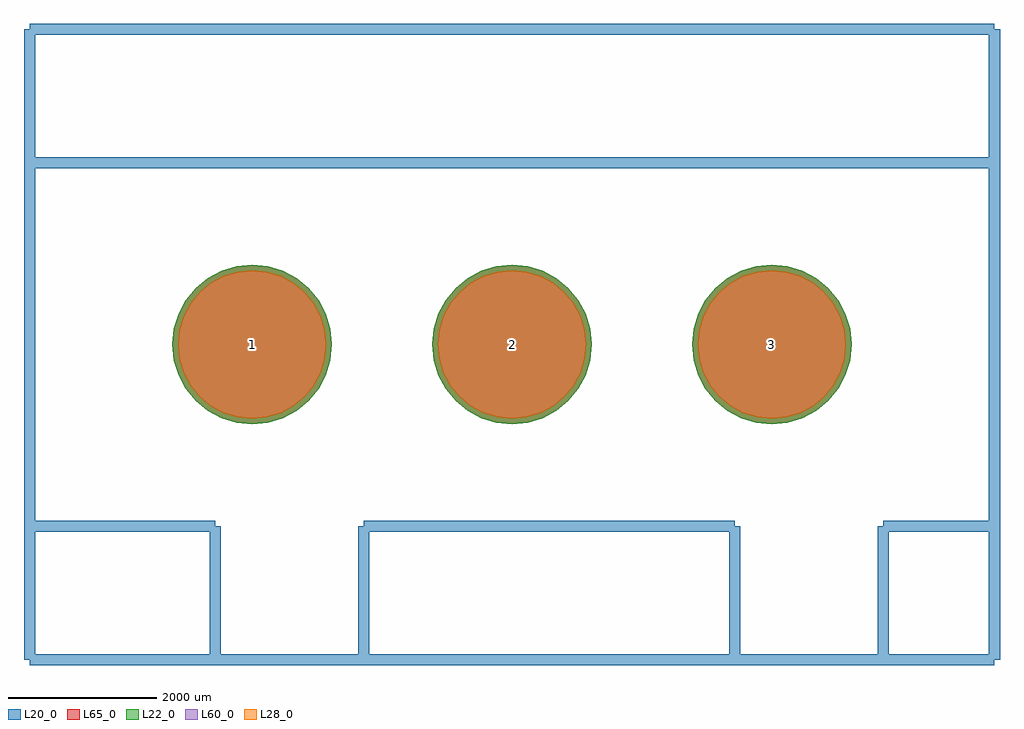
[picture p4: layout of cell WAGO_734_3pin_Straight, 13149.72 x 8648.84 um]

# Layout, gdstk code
import gdstk
lib = gdstk.Library(unit=1e-6, precision=1e-09)
def P(c, l, *ps):  # polygons
    for p in ps: c.add(gdstk.Polygon(p, *l))
L20_0 = (20, 0)
L22_0 = (22, 0)
L28_0 = (28, 0)
L60_0 = (60, 0)
L65_0 = (65, 0)

wago_734_3pin_straight = lib.new_cell('WAGO_734_3pin_Straight')
P(wago_734_3pin_straight, L22_0, [(4574.61,0),(4553.964,209.623),(4492.819,411.19),(4393.526,596.955),(4259.899,759.779),(4097.075,893.406),(3911.31,992.699),(3709.743,1053.844),(3500.12,1074.49),(3290.497,1053.844),(3088.93,992.699),(2903.165,893.406),(2740.341,759.779),(2606.714,596.955),(2507.421,411.19),(2446.276,209.623),(2425.63,0),(2446.276,-209.623),(2507.421,-411.19),(2606.714,-596.955),(2740.341,-759.779),(2903.165,-893.406),(3088.93,-992.699),(3290.497,-1053.844),(3500.12,-1074.49),(3709.743,-1053.844),(3911.31,-992.699),(4097.075,-893.406),(4259.899,-759.779),(4393.526,-596.955),(4492.819,-411.19),(4553.964,-209.623)],
  [(-2425.63,0),(-2446.276,209.623),(-2507.421,411.19),(-2606.714,596.955),(-2740.341,759.779),(-2903.165,893.406),(-3088.93,992.699),(-3290.497,1053.844),(-3500.12,1074.49),(-3709.743,1053.844),(-3911.31,992.699),(-4097.075,893.406),(-4259.899,759.779),(-4393.526,596.955),(-4492.819,411.19),(-4553.964,209.623),(-4574.61,0),(-4553.964,-209.623),(-4492.819,-411.19),(-4393.526,-596.955),(-4259.899,-759.779),(-4097.075,-893.406),(-3911.31,-992.699),(-3709.743,-1053.844),(-3500.12,-1074.49),(-3290.497,-1053.844),(-3088.93,-992.699),(-2903.165,-893.406),(-2740.341,-759.779),(-2606.714,-596.955),(-2507.421,-411.19),(-2446.276,-209.623)],
  [(1074.49,0),(1053.844,209.623),(992.699,411.19),(893.406,596.955),(759.779,759.779),(596.955,893.406),(411.19,992.699),(209.623,1053.844),(0,1074.49),(-209.623,1053.844),(-411.19,992.699),(-596.955,893.406),(-759.779,759.779),(-893.406,596.955),(-992.699,411.19),(-1053.844,209.623),(-1074.49,0),(-1053.844,-209.623),(-992.699,-411.19),(-893.406,-596.955),(-759.779,-759.779),(-596.955,-893.406),(-411.19,-992.699),(-209.623,-1053.844),(0,-1074.49),(209.623,-1053.844),(411.19,-992.699),(596.955,-893.406),(759.779,-759.779),(893.406,-596.955),(992.699,-411.19),(1053.844,-209.623)])
P(wago_734_3pin_straight, L28_0, [(4499.61,0),(4480.405,194.991),(4423.528,382.488),(4331.166,555.287),(4206.866,706.746),(4055.407,831.046),(3882.608,923.408),(3695.111,980.285),(3500.12,999.49),(3305.129,980.285),(3117.632,923.408),(2944.833,831.046),(2793.374,706.746),(2669.074,555.287),(2576.712,382.488),(2519.835,194.991),(2500.63,0),(2519.835,-194.991),(2576.712,-382.488),(2669.074,-555.287),(2793.374,-706.746),(2944.833,-831.046),(3117.632,-923.408),(3305.129,-980.285),(3500.12,-999.49),(3695.111,-980.285),(3882.608,-923.408),(4055.407,-831.046),(4206.866,-706.746),(4331.166,-555.287),(4423.528,-382.488),(4480.405,-194.991)],
  [(-2500.63,0),(-2519.835,194.991),(-2576.712,382.488),(-2669.074,555.287),(-2793.374,706.746),(-2944.833,831.046),(-3117.632,923.408),(-3305.129,980.285),(-3500.12,999.49),(-3695.111,980.285),(-3882.608,923.408),(-4055.407,831.046),(-4206.866,706.746),(-4331.166,555.287),(-4423.528,382.488),(-4480.405,194.991),(-4499.61,0),(-4480.405,-194.991),(-4423.528,-382.488),(-4331.166,-555.287),(-4206.866,-706.746),(-4055.407,-831.046),(-3882.608,-923.408),(-3695.111,-980.285),(-3500.12,-999.49),(-3305.129,-980.285),(-3117.632,-923.408),(-2944.833,-831.046),(-2793.374,-706.746),(-2669.074,-555.287),(-2576.712,-382.488),(-2519.835,-194.991)],
  [(999.49,0),(980.285,194.991),(923.408,382.488),(831.046,555.287),(706.746,706.746),(555.287,831.046),(382.488,923.408),(194.991,980.285),(0,999.49),(-194.991,980.285),(-382.488,923.408),(-555.287,831.046),(-706.746,706.746),(-831.046,555.287),(-923.408,382.488),(-980.285,194.991),(-999.49,0),(-980.285,-194.991),(-923.408,-382.488),(-831.046,-555.287),(-706.746,-706.746),(-555.287,-831.046),(-382.488,-923.408),(-194.991,-980.285),(0,-999.49),(194.991,-980.285),(382.488,-923.408),(555.287,-831.046),(706.746,-706.746),(831.046,-555.287),(923.408,-382.488),(980.285,-194.991)])
P(wago_734_3pin_straight, L60_0, [(4499.61,0),(4480.405,194.991),(4423.528,382.488),(4331.166,555.287),(4206.866,706.746),(4055.407,831.046),(3882.608,923.408),(3695.111,980.285),(3500.12,999.49),(3305.129,980.285),(3117.632,923.408),(2944.833,831.046),(2793.374,706.746),(2669.074,555.287),(2576.712,382.488),(2519.835,194.991),(2500.63,0),(2519.835,-194.991),(2576.712,-382.488),(2669.074,-555.287),(2793.374,-706.746),(2944.833,-831.046),(3117.632,-923.408),(3305.129,-980.285),(3500.12,-999.49),(3695.111,-980.285),(3882.608,-923.408),(4055.407,-831.046),(4206.866,-706.746),(4331.166,-555.287),(4423.528,-382.488),(4480.405,-194.991)],
  [(-2500.63,0),(-2519.835,194.991),(-2576.712,382.488),(-2669.074,555.287),(-2793.374,706.746),(-2944.833,831.046),(-3117.632,923.408),(-3305.129,980.285),(-3500.12,999.49),(-3695.111,980.285),(-3882.608,923.408),(-4055.407,831.046),(-4206.866,706.746),(-4331.166,555.287),(-4423.528,382.488),(-4480.405,194.991),(-4499.61,0),(-4480.405,-194.991),(-4423.528,-382.488),(-4331.166,-555.287),(-4206.866,-706.746),(-4055.407,-831.046),(-3882.608,-923.408),(-3695.111,-980.285),(-3500.12,-999.49),(-3305.129,-980.285),(-3117.632,-923.408),(-2944.833,-831.046),(-2793.374,-706.746),(-2669.074,-555.287),(-2576.712,-382.488),(-2519.835,-194.991)],
  [(999.49,0),(980.285,194.991),(923.408,382.488),(831.046,555.287),(706.746,706.746),(555.287,831.046),(382.488,923.408),(194.991,980.285),(0,999.49),(-194.991,980.285),(-382.488,923.408),(-555.287,831.046),(-706.746,706.746),(-831.046,555.287),(-923.408,382.488),(-980.285,194.991),(-999.49,0),(-980.285,-194.991),(-923.408,-382.488),(-831.046,-555.287),(-706.746,-706.746),(-555.287,-831.046),(-382.488,-923.408),(-194.991,-980.285),(0,-999.49),(194.991,-980.285),(382.488,-923.408),(555.287,-831.046),(706.746,-706.746),(831.046,-555.287),(923.408,-382.488),(980.285,-194.991)])
P(wago_734_3pin_straight, L65_0, [(4574.61,0),(4553.964,209.623),(4492.819,411.19),(4393.526,596.955),(4259.899,759.779),(4097.075,893.406),(3911.31,992.699),(3709.743,1053.844),(3500.12,1074.49),(3290.497,1053.844),(3088.93,992.699),(2903.165,893.406),(2740.341,759.779),(2606.714,596.955),(2507.421,411.19),(2446.276,209.623),(2425.63,0),(2446.276,-209.623),(2507.421,-411.19),(2606.714,-596.955),(2740.341,-759.779),(2903.165,-893.406),(3088.93,-992.699),(3290.497,-1053.844),(3500.12,-1074.49),(3709.743,-1053.844),(3911.31,-992.699),(4097.075,-893.406),(4259.899,-759.779),(4393.526,-596.955),(4492.819,-411.19),(4553.964,-209.623)],
  [(-2425.63,0),(-2446.276,209.623),(-2507.421,411.19),(-2606.714,596.955),(-2740.341,759.779),(-2903.165,893.406),(-3088.93,992.699),(-3290.497,1053.844),(-3500.12,1074.49),(-3709.743,1053.844),(-3911.31,992.699),(-4097.075,893.406),(-4259.899,759.779),(-4393.526,596.955),(-4492.819,411.19),(-4553.964,209.623),(-4574.61,0),(-4553.964,-209.623),(-4492.819,-411.19),(-4393.526,-596.955),(-4259.899,-759.779),(-4097.075,-893.406),(-3911.31,-992.699),(-3709.743,-1053.844),(-3500.12,-1074.49),(-3290.497,-1053.844),(-3088.93,-992.699),(-2903.165,-893.406),(-2740.341,-759.779),(-2606.714,-596.955),(-2507.421,-411.19),(-2446.276,-209.623)],
  [(1074.49,0),(1053.844,209.623),(992.699,411.19),(893.406,596.955),(759.779,759.779),(596.955,893.406),(411.19,992.699),(209.623,1053.844),(0,1074.49),(-209.623,1053.844),(-411.19,992.699),(-596.955,893.406),(-759.779,759.779),(-893.406,596.955),(-992.699,411.19),(-1053.844,209.623),(-1074.49,0),(-1053.844,-209.623),(-992.699,-411.19),(-893.406,-596.955),(-759.779,-759.779),(-596.955,-893.406),(-411.19,-992.699),(-209.623,-1053.844),(0,-1074.49),(209.623,-1053.844),(411.19,-992.699),(596.955,-893.406),(759.779,-759.779),(893.406,-596.955),(992.699,-411.19),(1053.844,-209.623)])
wago_734_3pin_straight.add(gdstk.FlexPath([(6499.86,-4249.42),(0,-4249.42)], 149.998, ends="flush", simple_path=True, layer=20, datatype=0))  # L20_0
wago_734_3pin_straight.add(gdstk.FlexPath([(6499.86,4249.42),(6499.86,-4249.42)], 149.998, ends="flush", simple_path=True, layer=20, datatype=0))  # L20_0
wago_734_3pin_straight.add(gdstk.FlexPath([(-6499.86,4249.42),(6499.86,4249.42)], 149.998, ends="flush", simple_path=True, layer=20, datatype=0))  # L20_0
wago_734_3pin_straight.add(gdstk.FlexPath([(-6499.86,-4249.42),(-6499.86,4249.42)], 149.998, ends="flush", simple_path=True, layer=20, datatype=0))  # L20_0
wago_734_3pin_straight.add(gdstk.FlexPath([(0,-4249.42),(-6499.86,-4249.42)], 149.998, ends="flush", simple_path=True, layer=20, datatype=0))  # L20_0
wago_734_3pin_straight.add(gdstk.FlexPath([(-4000.5,-2451.1),(-4000.5,-4249.42)], 149.998, ends="flush", simple_path=True, layer=20, datatype=0))  # L20_0
wago_734_3pin_straight.add(gdstk.FlexPath([(-6499.86,-2451.1),(-4000.5,-2451.1)], 149.998, ends="flush", simple_path=True, layer=20, datatype=0))  # L20_0
wago_734_3pin_straight.add(gdstk.FlexPath([(2999.74,-2451.1),(2999.74,-4249.42)], 149.998, ends="flush", simple_path=True, layer=20, datatype=0))  # L20_0
wago_734_3pin_straight.add(gdstk.FlexPath([(-1998.98,-2451.1),(2999.74,-2451.1)], 149.998, ends="flush", simple_path=True, layer=20, datatype=0))  # L20_0
wago_734_3pin_straight.add(gdstk.FlexPath([(-1998.98,-4249.42),(-1998.98,-2451.1)], 149.998, ends="flush", simple_path=True, layer=20, datatype=0))  # L20_0
wago_734_3pin_straight.add(gdstk.FlexPath([(5001.26,-2451.1),(6499.86,-2451.1)], 149.998, ends="flush", simple_path=True, layer=20, datatype=0))  # L20_0
wago_734_3pin_straight.add(gdstk.FlexPath([(5001.26,-4249.42),(5001.26,-2451.1)], 149.998, ends="flush", simple_path=True, layer=20, datatype=0))  # L20_0
wago_734_3pin_straight.add(gdstk.FlexPath([(-6499.86,2451.1),(6499.86,2451.1)], 149.998, ends="flush", simple_path=True, layer=20, datatype=0))  # L20_0
wago_734_3pin_straight.add(gdstk.Label('3', (3500.12,0), layer=28, texttype=0))
wago_734_3pin_straight.add(gdstk.Label('1', (-3500.12,0), layer=28, texttype=0))
wago_734_3pin_straight.add(gdstk.Label('2', (0,0), layer=28, texttype=0))
wago_734_3pin_straight.add(gdstk.Label('type', (0,-6350), layer=9, texttype=0))
wago_734_3pin_straight.add(gdstk.Label('devicename', (0,6350), layer=9, texttype=0))

lib.write_gds('WAGO_734_3pin_Straight.gds')
